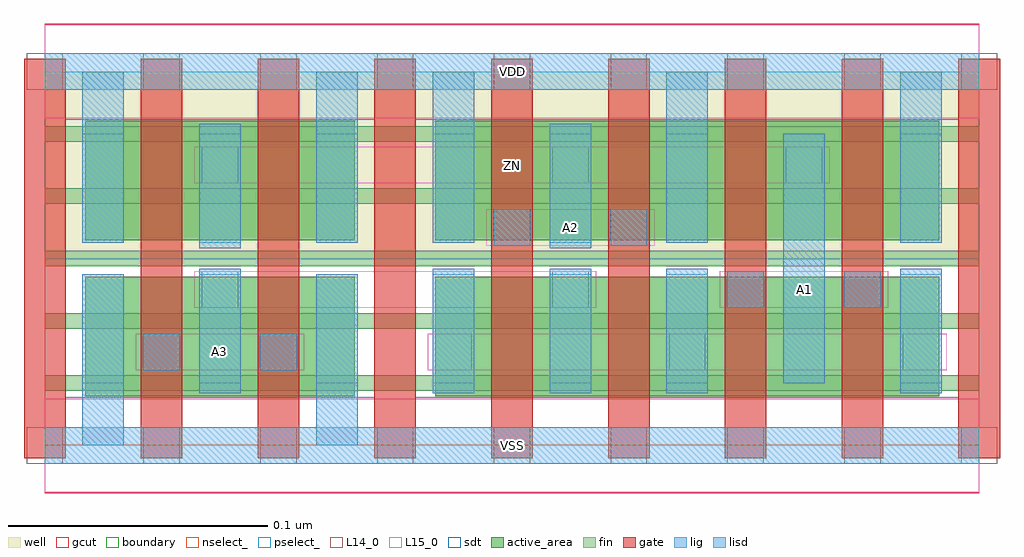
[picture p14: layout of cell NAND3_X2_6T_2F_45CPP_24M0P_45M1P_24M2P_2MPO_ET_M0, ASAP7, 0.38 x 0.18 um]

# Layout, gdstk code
import gdstk
lib = gdstk.Library(unit=1e-6, precision=2.5e-10)
def R(c, l, rs):  # rectangles x0, y0, x1, y1
    for r in rs: c.add(gdstk.rectangle(r[:2], r[2:], *l))
def A(c, l, x, y, w, h, nx, ny, dx, dy):  # array of equal rectangles
    R(c, l, [(x+i*dx, y+j*dy, x+i*dx+w, y+j*dy+h) for i in range(nx) for j in range(ny)])
well = (1, 0)
fin = (2, 0)
gate = (7, 0)
gcut = (10, 0)
active_area = (11, 0)
nselect_ = (12, 0)
pselect_ = (13, 0)
L14_0 = (14, 0)
L15_0 = (15, 0)
lig = (16, 0)
lisd = (17, 0)
sdt = (88, 0)
boundary = (100, 0)

nand3_x2_6t_2f_45cpp_24m = lib.new_cell('NAND3_X2_6T_2F_45CPP_24M0P_45M1P_24M2P_2MPO_ET_M0')
R(nand3_x2_6t_2f_45cpp_24m, well, [(0,0.072,0.36,0.144)])
A(nand3_x2_6t_2f_45cpp_24m, fin, 0, 0.021, 0.36, 0.006, 1, 5, 0, 0.024)
A(nand3_x2_6t_2f_45cpp_24m, gate, -0.008, -0.005, 0.016, 0.154, 9, 1, 0.045, 0)
R(nand3_x2_6t_2f_45cpp_24m, gcut, [(0,-0.0185,0.36,0.0185), (-0.008,-0.005,0.008,0.149), (0.127,-0.005,0.143,0.149), (0.352,-0.005,0.368,0.149), (0,0.1255,0.36,0.1625)])
A(nand3_x2_6t_2f_45cpp_24m, active_area, 0.1505, 0.019, 0.059, 0.046, 4, 2, 0.045, 0.06)
R(nand3_x2_6t_2f_45cpp_24m, active_area, [(0.0155,0.019,0.0745,0.065), (0.0605,0.019,0.1195,0.065), (0.0155,0.079,0.0745,0.125), (0.0605,0.079,0.1195,0.125)])
R(nand3_x2_6t_2f_45cpp_24m, nselect_, [(0,0,0.36,0.072)])
R(nand3_x2_6t_2f_45cpp_24m, pselect_, [(0,0.072,0.36,0.144)])
A(nand3_x2_6t_2f_45cpp_24m, L14_0, -0.007, -0.007, 0.014, 0.014, 9, 2, 0.045, 0.144)
A(nand3_x2_6t_2f_45cpp_24m, L14_0, 0.1505, 0.029, 0.014, 0.014, 3, 1, 0.09, 0)
R(nand3_x2_6t_2f_45cpp_24m, L14_0, [(0.038,0.029,0.052,0.043), (0.083,0.029,0.097,0.043), (0.0605,0.053,0.0745,0.067), (0.1955,0.053,0.2095,0.067), (0.263,0.053,0.277,0.067), (0.308,0.053,0.322,0.067), (0.173,0.077,0.187,0.091), (0.218,0.077,0.232,0.091), (0.0605,0.101,0.0745,0.115), (0.1955,0.101,0.2095,0.115), (0.2855,0.101,0.2995,0.115)])
R(nand3_x2_6t_2f_45cpp_24m, L15_0, [(0,-0.018,0.36,0.018), (0.035,0.029,0.1,0.043), (0.1475,0.029,0.3475,0.043), (0.0575,0.053,0.2125,0.067), (0.26,0.053,0.325,0.067), (0.17,0.077,0.235,0.091), (0.0575,0.101,0.3025,0.115), (0,0.126,0.36,0.162)])
R(nand3_x2_6t_2f_45cpp_24m, lig, [(0,-0.007,0.36,0.007), (0.038,0.029,0.052,0.043), (0.083,0.029,0.097,0.043), (0.263,0.053,0.277,0.067), (0.308,0.053,0.322,0.067), (0.173,0.077,0.187,0.091), (0.218,0.077,0.232,0.091), (0,0.137,0.36,0.151)])
A(nand3_x2_6t_2f_45cpp_24m, lisd, 0.1495, 0.02, 0.016, 0.048, 3, 1, 0.045, 0)
A(nand3_x2_6t_2f_45cpp_24m, lisd, 0.1495, 0.078, 0.016, 0.066, 3, 1, 0.09, 0)
R(nand3_x2_6t_2f_45cpp_24m, lisd, [(0.0145,0,0.0305,0.066), (0.1045,0,0.1205,0.066), (0.0595,0.02,0.0755,0.068), (0.3295,0.02,0.3455,0.068), (0.2845,0.024,0.3005,0.12), (0.0595,0.076,0.0755,0.124), (0.1945,0.076,0.2105,0.124), (0.0145,0.078,0.0305,0.144), (0.1045,0.078,0.1205,0.144)])
A(nand3_x2_6t_2f_45cpp_24m, sdt, 0.0145, 0.024, 0.016, 0.042, 6, 2, 0.045, 0.054)
R(nand3_x2_6t_2f_45cpp_24m, sdt, [(0.2845,0.024,0.3005,0.12), (0.3295,0.024,0.3455,0.066), (0.3295,0.078,0.3455,0.12)])
R(nand3_x2_6t_2f_45cpp_24m, boundary, [(0,0,0.36,0.144)])
nand3_x2_6t_2f_45cpp_24m.add(gdstk.Label('ZN', (0.18,0.108), layer=15, texttype=251))
nand3_x2_6t_2f_45cpp_24m.add(gdstk.Label('A2', (0.2025,0.084), layer=15, texttype=251))
nand3_x2_6t_2f_45cpp_24m.add(gdstk.Label('A1', (0.2925,0.06), layer=15, texttype=251))
nand3_x2_6t_2f_45cpp_24m.add(gdstk.Label('A3', (0.0675,0.036), layer=15, texttype=251))
nand3_x2_6t_2f_45cpp_24m.add(gdstk.Label('VDD', (0.18,0.144), layer=15, texttype=251))
nand3_x2_6t_2f_45cpp_24m.add(gdstk.Label('VSS', (0.18,0), layer=15, texttype=251))
nand3_x2_6t_2f_45cpp_24m.add(gdstk.Label('VDD', (0.18,0.144), layer=1, texttype=251))
nand3_x2_6t_2f_45cpp_24m.add(gdstk.Label('VSS', (0.18,0), layer=3, texttype=251))

lib.write_gds('NAND3_X2_6T_2F_45CPP_24M0P_45M1P_24M2P_2MPO_ET_M0.gds')
